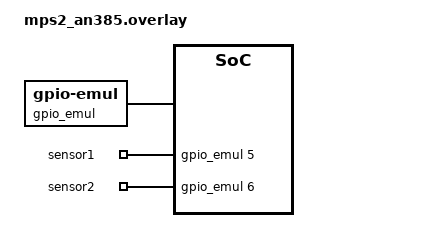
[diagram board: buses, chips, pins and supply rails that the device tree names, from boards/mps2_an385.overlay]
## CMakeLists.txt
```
cmake_minimum_required(VERSION 3.20.0)

set(BOARD_ROOT ${CMAKE_CURRENT_SOURCE_DIR})
set(ZEPHYR_EXTRA_MODULES "${CMAKE_CURRENT_SOURCE_DIR}/camera_service/")

find_package(Zephyr REQUIRED)
project(zephyr-ecom042)
add_link_options(--print-memory-usage,-Map=${PROJECT_BINARY_DIR}/${PROJECT_NAME}.map)

include_directories(BEFORE app/include)

target_sources(app PRIVATE
        app/src/main.c
        app/src/sensor_thread.c
        app/src/occurrences.c
        app/src/display_thread.c
)
```

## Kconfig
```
menu "Radar System Configuration"
    config RADAR_SENSOR_DISTANCE_MM
        int "Distance between magnetic sensors (mm)"
        default 1000
        range 500 1500
        help
          Physical distance between the two magnetic sensors, used for speed calculation.

    config RADAR_SPEED_LIMIT_LIGHT_KMH
        int "Speed limit for Light Vehicles (km/h)"
        default 80
        help
          Maximum allowed speed for vehicles classified as 'Light' (2 axles).

    config RADAR_SPEED_LIMIT_HEAVY_KMH
        int "Speed limit for Heavy Vehicles (km/h)"
        default 60
        help
          Maximum allowed speed for vehicles classified as 'Heavy' (3+ axles).

    config RADAR_WARNING_THRESHOLD_PERCENT
        int "Warning Threshold (% of limit)"
        range 1 100
        default 90
        help
          Speed percentage relative to the limit that triggers the 'Yellow' (Alert) status.

    config RADAR_MAX_AXLE_SPACING_MM
        int "Maximum length of a wheelbase, in millimeters."
        range 1000 18000
        default 12000

endmenu

source "Kconfig.zephyr"
```

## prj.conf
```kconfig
CONFIG_ASSERT=y

CONFIG_LOG=y
CONFIG_LOG_BACKEND_UART=y
CONFIG_LOG_PRINTK=y

CONFIG_MAIN_STACK_SIZE=2048
CONFIG_SYSTEM_WORKQUEUE_STACK_SIZE=2048

CONFIG_GPIO=y
CONFIG_DISPLAY=y

CONFIG_ZBUS=y
CONFIG_ZBUS_MSG_SUBSCRIBER=y

CONFIG_THREAD_NAME=y
CONFIG_THREAD_STACK_INFO=y

CONFIG_TEST_RANDOM_GENERATOR=y

CONFIG_QEMU_ICOUNT=n
CONFIG_GPIO_EMUL=y

CONFIG_SHELL=y
CONFIG_GPIO_SHELL=y
CONFIG_SHELL_BACKEND_SERIAL_RX_RING_BUFFER_SIZE=512
CONFIG_SHELL_HISTORY_BUFFER=512
```

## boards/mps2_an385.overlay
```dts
#include <zephyr/dt-bindings/gpio/gpio.h>

/ {
	aliases {
		sensor-gpio5 = &sensor1;
		sensor-gpio6 = &sensor2;
	};

	chosen {
		zephyr,display = &dummy_dc;
	};

	gpio_emul: gpio_emul {
		compatible = "zephyr,gpio-emul";
		status = "okay";
		gpio-controller;
		#gpio-cells = <2>;
		ngpios = <32>;

		rising-edge;
	};

	gpio_keys {
		compatible = "gpio-keys";
		debounce-interval-ms = <20>;

		sensor1: sensor1 {
			gpios = <&gpio_emul 5 (GPIO_PULL_DOWN | GPIO_ACTIVE_HIGH)>;
		};

		sensor2: sensor2 {
			gpios = <&gpio_emul 6 (GPIO_PULL_DOWN | GPIO_ACTIVE_HIGH)>;
		};
	};

	dummy_dc: dummy_dc {
		compatible = "zephyr,dummy-dc";
		status = "okay";
		width = <80>;
		height = <24>;
	};
};
```

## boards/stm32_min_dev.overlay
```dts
/ {
	zephyr,user {
		pwm-names = "indicator_led";
		pwms = <&led_pwm 3 PWM_MSEC(1) PWM_POLARITY_NORMAL>;
	};
};

&timers4 {
	st,prescaler = <359>;
	status = "okay";

	led_pwm: pwm {
		status = "okay";
		pinctrl-0 = <&tim4_ch3_pwm_out_pb8>;
		pinctrl-names = "default";
	};
};

&gpiob {
	button {
		compatible = "gpio-keys";

		button0: button0 {
			gpios = <&gpiob 11 GPIO_ACTIVE_HIGH>;
		};
	};
};
```

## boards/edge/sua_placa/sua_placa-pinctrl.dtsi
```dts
/**
 * @file sua-placa-pinctrl.dtsi
 * @author João Anon (email@edge.ufal.br)
 * @brief Pin Controller para configuração da UART/SPI.
 * @version 0.1
 * @date dd-mm-aaaa
 *
 * @copyright Copyright (c) aaaa
 *
 */

#include <arm/silabs/gpio_gecko.h>
#include <dt-bindings/pinctrl/gecko-pinctrl.h>

&pinctrl {
	/* Configuração para usart0, operando como SPI */
	usart0_default: usart0_default {
		group1 {
			psels = <GECKO_PSEL(SPI_SCK, C, 1)>,
					<GECKO_PSEL(SPI_MOSI, C, 0)>,
					<GECKO_PSEL(SPI_MISO, C, 3)>;
		};
	};

	/* Configuração para usart1, operando como UART */
	usart1_default: usart1_default {
		group1 {
			psels = <GECKO_PSEL(UART_TX, C, 5)>,
					<GECKO_PSEL(UART_RX, C, 6)>,
					<GECKO_LOC(UART, 1)>;
		};
	};
};
```

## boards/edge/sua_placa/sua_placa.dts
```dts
/**
 * @file sua-placa.dts
 * @author João Anon (email@edge.ufal.br)
 * @brief Pin Controller para configuração da UART/SPI.
 * @version 0.1
 * @date dd-mm-aaaa
 *
 * @copyright Copyright (c) aaaa
 *
 */

/dts-v1/;
#include <silabs/efr32bg22.dtsi>
#include "sua_placa-pinctrl.dtsi"

/ {
	model = "Sua Placa, usando: Silicon Labs EFR32BG BRD4184B";
	compatible = "silabs,efr32bg22c224f512im40", "silabs,efr32bg_brd4184b",
				 "silabs,efr32bg22";

	chosen {
		zephyr,sram = &sram0;
		zephyr,flash = &flash0;
		zephyr,code-partition = &slot0_partition;
		zephyr,settings-partition = &user_flash;
	};
};

&gpioa {
	status = "okay";
};

&gpiob {
	status = "okay";
};

&gpiod {
	status = "okay";
};

&adc0 {
	#address-cells = <1>;
	#size-cells = <0>;
	status = "okay";

	/* Valor inicial do iadc de cada porta:
	 * PORTA0 128, PORTB0 144, PORTC0 160, PORTD0 176 */

	/* SENSOR_INPUT_VOLTAGE: AC_LEVEL: PC04 */
	channel_0: channel@0 {
		reg = <0>;
		zephyr,gain = "ADC_GAIN_1";
		zephyr,reference = "ADC_REF_INTERNAL";
		zephyr,vref-mv = <1210>;
		zephyr,acquisition-time = <ADC_ACQ_TIME_DEFAULT>;
		zephyr,resolution = <12>;
		zephyr,input-positive = <164>;
	};

	/* SENSOR_OUTPUT_VOLTAGE: SUPPLY_VOLTAGE_ADC: PA08 */
	channel_1: channel@1 {
		reg = <1>;
		zephyr,gain = "ADC_GAIN_1";
		zephyr,reference = "ADC_REF_INTERNAL";
		zephyr,vref-mv = <1210>;
		zephyr,acquisition-time = <ADC_ACQ_TIME_DEFAULT>;
		zephyr,resolution = <12>;
		zephyr,input-positive = <136>;
	};

};

&flash0 {
	reg = <0x0 DT_SIZE_K(352)>;

	partitions {
		#address-cells = <1>;
		#size-cells = <1>;
		compatible = "fixed-partitions";

		/* Reserva 48 KiB para o bootloader */
		boot_partition: partition@0 {
			label = "mcuboot";
			reg = <0x00000000 0x0000c000>;
			read-only;
		};

		/* Reserva 124 KiB para o código no slot0 (Pode ser estendido para a partição no slot1
		 * caso não sejam necessárias atualizações de firmware.) */
		slot0_partition: partition@c000 {
			label = "image-0";
			reg = <0x0000c000 0x0001f000>;
		};

		/* Reserva 124 KiB para atualização de firmware no slot1 */
		slot1_partition: partition@2b000 {
			label = "image-1";
			reg = <0x0002b000 0x0001f000>;
		};

		/* Reserva 16 KiB de espaço para dados do usuário. */
		user_flash: partition@4a000 {
			label = "user-flash";
			reg = <0x0004a000 0x00004000>;
		};
	};
};
```

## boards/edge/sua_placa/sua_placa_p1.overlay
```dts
/**
 * @file sua_placa_p1.overlay
 * @author João Anon (email@edge.ufal.br)
 * @brief
 * @version 0.1
 * @date dd-mm-aaaa
 *
 * @copyright Copyright (c) aaaa
 *
 */

&gpiod {
	group {
		compatible = "gpio-leds";

		node_a_label: node_a {
			gpios = <&gpiod GECKO_PIN(0) GPIO_ACTIVE_HIGH>;
			label = "Node A";
		};

		node_b_label: node_b {
			gpios = <&gpiod GECKO_PIN(1) GPIO_ACTIVE_HIGH>;
			label = "Node B";
		};
	};
};
```

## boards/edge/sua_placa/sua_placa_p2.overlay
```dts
/**
 * @file sua_placa_p2.overlay
 * @author João Anon (email@edge.ufal.br)
 * @brief
 * @version 0.1
 * @date dd-mm-aaaa
 *
 * @copyright Copyright (c) aaaa
 *
 */


&gpiod {
	group {
		compatible = "gpio-leds";

		node_a_label: node_a {
			gpios = <&gpiod GECKO_PIN(1) GPIO_ACTIVE_HIGH>;
			label = "Node A";
		};

		node_b_label: node_b {
			gpios = <&gpiod GECKO_PIN(0) GPIO_ACTIVE_HIGH>;
			label = "Node B";
		};
	};
};
```

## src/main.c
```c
/**
 * @file main.c
 * @author Paulo Santos (prms@ic.ufal.br)
 * @brief STNP with Zbus.
 * @version 0.1
 * @date 14/10/2025
 *
 * Atividade 4 - SNTP + Zbus
 */

#include <zephyr/kernel.h>
#include <zephyr/logging/log.h>
#include <zephyr/net/sntp.h>
#include <zephyr/net/wifi_mgmt.h>
#include <zephyr/zbus/zbus.h>
#include <zephyr/sys/timeutil.h>


LOG_MODULE_REGISTER(app, LOG_LEVEL_INF);

struct data {
    struct tm timestamp;
};

struct endpoint {
    struct sockaddr addr;
    socklen_t len;
};

K_SEM_DEFINE(got_ip_sem, 0, 1);
static struct net_mgmt_event_callback ip_cb;
bool is_wifi_conn = false;

static void ip_event_handler(struct net_mgmt_event_callback* cb, const uint64_t mgmt_event,
                             struct net_if* iface) {
    if (mgmt_event == NET_EVENT_IPV4_ADDR_ADD) {
        char ip[NET_IPV4_ADDR_LEN];
        const struct net_if_config* cfg = net_if_get_config(iface);

        if (cfg && cfg->ip.ipv4) {
            net_addr_ntop(AF_INET, &cfg->ip.ipv4->unicast[0].ipv4.address.in_addr, ip,
                          sizeof(ip));
            LOG_INF("DHCP OK: %s", ip);
            k_sem_give(&got_ip_sem);
        }
    }
}

static int wifi_connect_now(const uint8_t* ssid, const uint8_t* psk) {
    struct net_if* iface = net_if_get_default();
    struct wifi_connect_req_params req_params = {0};

    req_params.ssid = ssid;
    req_params.ssid_length = strlen((char*) ssid);
    req_params.psk = psk;
    req_params.psk_length = strlen((char*) psk);
    req_params.security = WIFI_SECURITY_TYPE_PSK;
    req_params.channel = WIFI_CHANNEL_ANY;

    const int ret = net_mgmt(NET_REQUEST_WIFI_CONNECT, iface, &req_params, sizeof(req_params));
    if (ret) {
        LOG_ERR("Failed NET_REQUEST_WIFI_CONNECT (%d)", ret);
        return ret;
    }

    LOG_INF("Connecting on AP \"%s\" ...", ssid);
    return 0;
}

int init(void) {
    LOG_INF("Starting Wi-Fi");

    net_mgmt_init_event_callback(&ip_cb, ip_event_handler, NET_EVENT_IPV4_ADDR_ADD);
    net_mgmt_add_event_callback(&ip_cb);

    if (wifi_connect_now(CONFIG_WIFI_SSID, CONFIG_WIFI_PASSWD) != 0) {
        return -EIO;
    }

    if (k_sem_take(&got_ip_sem, K_SECONDS(30)) != 0) {
        LOG_ERR("DHCP Timeout");
        return -ETIMEDOUT;
    }

    struct zsock_addrinfo hints = {0},* res = NULL;
    hints.ai_family = AF_INET;
    hints.ai_socktype = SOCK_STREAM;

    const char* hostname_test = "google.com";

    const int ret = zsock_getaddrinfo(hostname_test, "80", &hints, &res);
    if (ret) {
        LOG_ERR("DNS failed (%d)", ret);

        return -1;
    }

    char ip_buffer[NET_IPV4_ADDR_LEN];
    const struct sockaddr_in* addr = (struct sockaddr_in*) res->ai_addr;

    net_addr_ntop(AF_INET, &addr->sin_addr, ip_buffer, sizeof(ip_buffer));

    LOG_INF("DNS OK: %s -> %s", ip_buffer, hostname_test);
    zsock_freeaddrinfo(res);

    is_wifi_conn = true;

    return 0;
}

ZBUS_CHAN_DEFINE(time_channel, struct data, NULL, NULL, ZBUS_OBSERVERS(log_subs, app_subs),
                 ZBUS_MSG_INIT(.timestamp = 0));

K_THREAD_STACK_DEFINE(thread_sntp_stack, 1024);
K_THREAD_STACK_DEFINE(thread_logger_stack, 1024);
K_THREAD_STACK_DEFINE(thread_app_stack, 1024);

static struct k_thread thread_sntp_data;
static struct k_thread thread_logger_data;
static struct k_thread thread_app_data;

static struct endpoint sntp_endpoint;
static struct sntp_time s_time;
static K_SEM_DEFINE(sntp_async_received, 0, 1);

static void sntp_service_handler(struct net_socket_service_event* pev);

NET_SOCKET_SERVICE_SYNC_DEFINE_STATIC(service_sntp_async, sntp_service_handler, 1);

SYS_INIT(init, APPLICATION, 50);

static void sntp_service_handler(struct net_socket_service_event* pev) {
    const int err = sntp_read_async(pev, &s_time);
    if (err) {
        LOG_ERR("[SNTP] failed to read SNTP response (%d)", err);
        return;
    }

    k_sem_give(&sntp_async_received);
}

void logger_thread(void* arg1, void* arg2, void* arg3) {
    char date_time[32] = {0};

    static struct tm internal_clock = {0};
    const struct zbus_channel* ch;
    struct data msg;

    LOG_INF("[LOGGER] Starting service");

    while (true) {
        int err = zbus_sub_wait(&log_subs, &ch, K_FOREVER);
        if (err) {
            LOG_WRN("[LOGGER] error while waiting channel notification: %d", err);
            continue;
        }

        err = zbus_chan_read(ch, &msg, K_FOREVER);
        if (err) {
            LOG_WRN("[LOGGER] error while reading channel msg: %d", err);
            continue;
        }

        internal_clock = msg.timestamp;

        strftime(date_time, 30, "%a %Y-%m-%d %H:%M:%S %Z", &internal_clock);
        LOG_INF("[LOGGER] Internal clock updated: %s", date_time);
    }
}

void app_thread(void* arg1, void* arg2, void* arg3) {
    bool init_ts = false;
    char date_time[32] = {0};
    char format[64];
    snprintf(format, sizeof(format), "%%a %%Y-%%m-%%d %%H:%%M:%%S %%Z%+d", CONFIG_UTC_OFFSET);

    const struct zbus_channel* ch;
    static struct tm last_timestamp = {0};
    struct data msg;

    LOG_INF("[APP] Starting service");

    while (true) {
        int err = zbus_sub_wait(&app_subs, &ch, K_FOREVER);
        if (err) {
            LOG_WRN("[APP] error while waiting channel notification: %d", err);
            continue;
        }

        err = zbus_chan_read(ch, &msg, K_FOREVER);
        if (err) {
            LOG_WRN("[APP] error while reading channel msg: %d", err);
            continue;
        }

        strftime(date_time, 30, format, &last_timestamp);
        LOG_DBG("[APP] Last execution time: %s", date_time);

        strftime(date_time, 30, format, &msg.timestamp);
        LOG_DBG("[APP] Now execution time: %s", date_time);

        if (!init_ts) {
            last_timestamp = msg.timestamp;
            init_ts = true;
        }

        int64_t ta = timeutil_timegm64(&last_timestamp);
        int64_t tb = timeutil_timegm64(&msg.timestamp);

        LOG_INF("[APP] Time execution interval: %" PRId64 "s", tb - ta);

        last_timestamp = msg.timestamp;
    }
}

void sntp_thread(void* arg1, void* arg2, void* arg3) {
    ARG_UNUSED(arg2);
    ARG_UNUSED(arg3);

    char format[64];
    snprintf(format, sizeof(format), "%%a %%Y-%%m-%%d %%H:%%M:%%S %%Z%+d", CONFIG_UTC_OFFSET);

    struct endpoint* sntp_endpoint_ = arg1;
    struct sntp_ctx ctx;

    int err = sntp_init_async(&ctx, &sntp_endpoint_->addr, sntp_endpoint_->len,
                              &service_sntp_async);
    if (err) {
        LOG_ERR("Failed to init SNTP, ctx: %d", err);
        sntp_close(&ctx);

        return;
    }

    LOG_INF("Starting SNTP Service");

    while (true) {
        struct tm time_utc;

        k_sem_reset(&sntp_async_received);
        err = sntp_send_async(&ctx);

        if (err) {
            LOG_WRN("[SNTP] Failed to send SNTP query (%d)", err);
            continue;
        }

        err = k_sem_take(&sntp_async_received, K_MSEC(1000));
        if (err) {
            LOG_WRN("[SNTP] response timed out (%d)", err);
            continue;
        }

        const struct timespec ts = {
            .tv_sec = (time_t) s_time.seconds,
            .tv_nsec = (long) (((uint64_t) s_time.fraction * 1000000000ULL) >> 32)
        };

        sys_clock_settime(1, &ts);

        time_t local_sec = (time_t) s_time.seconds + (CONFIG_UTC_OFFSET * 3600);
        gmtime_r(&local_sec, &time_utc);

        char date_time[32];
        strftime(date_time, 30, format, &time_utc);

        LOG_INF("[SNTP] Localtime updated: %s", date_time);

        struct data msg = {.timestamp = time_utc};
        err = zbus_chan_pub(&time_channel, &msg, K_NO_WAIT);
        if (err) {
            LOG_WRN("[SNTP] failed to publish in channel");
        }

        const uint32_t sleep_time = (k_cycle_get_32() % 5000) + 500;

        k_sleep(K_MSEC(sleep_time));
    }
}

ZBUS_SUBSCRIBER_DEFINE(app_subs, 4);
ZBUS_SUBSCRIBER_DEFINE(log_subs, 4);

int main(void) {
    if (!is_wifi_conn) {
        LOG_INF("Unable to connect to the WIFI.");
        return -1;
    }

    char ip_buffer[NET_IPV4_ADDR_LEN];

    struct zsock_addrinfo hints;
    struct zsock_addrinfo* res;

    hints.ai_family = AF_INET;
    hints.ai_socktype = SOCK_DGRAM;

    k_sleep(K_SECONDS(2));

    const int err = zsock_getaddrinfo(CONFIG_SNTP_HOSTNAME, "123", &hints, &res);
    if (err) {
        LOG_ERR("Failed to get hostname info");
        return -1;
    }

    net_addr_ntop(AF_INET, res->ai_addr, ip_buffer, sizeof(ip_buffer));

    LOG_INF("DNS SNTP OK: %s -> %s", ip_buffer, CONFIG_SNTP_HOSTNAME);

    sntp_endpoint.len = res->ai_addrlen;
    memcpy(&sntp_endpoint.addr, res->ai_addr, res->ai_addrlen);

    zsock_freeaddrinfo(res);

    k_thread_create(&thread_sntp_data, thread_sntp_stack,
                    K_THREAD_STACK_SIZEOF(thread_sntp_stack), sntp_thread, &sntp_endpoint, NULL,
                    NULL, K_PRIO_PREEMPT(4), 0, K_NO_WAIT);

    k_thread_create(&thread_logger_data, thread_logger_stack,
                    K_THREAD_STACK_SIZEOF(thread_logger_stack), logger_thread, NULL, NULL, NULL,
                    K_PRIO_PREEMPT(3), 0, K_NO_WAIT);

    k_thread_create(&thread_app_data, thread_app_stack, K_THREAD_STACK_SIZEOF(thread_app_stack),
                    app_thread, NULL, NULL, NULL, K_PRIO_PREEMPT(3), 0, K_NO_WAIT);

    LOG_INF("System started successfully");

    return 0;
}
```
